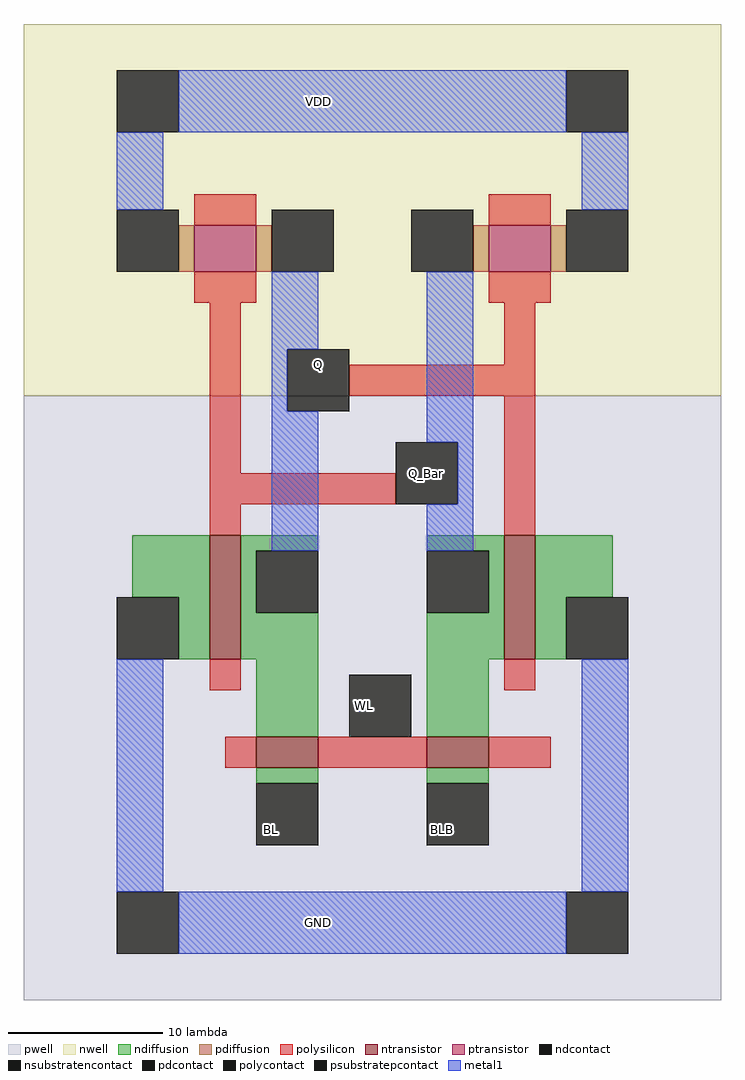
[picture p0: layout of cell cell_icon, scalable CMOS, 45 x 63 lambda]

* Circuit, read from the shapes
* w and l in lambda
.subckt cell_icon BL BLB GND Q Q_Bar VDD WL
M1 Q Q_Bar GND GND nfet w=8 l=2
M2 Q WL BL GND nfet w=4 l=2
M3 Q_Bar WL BLB GND nfet w=4 l=2
M4 GND Q Q_Bar GND nfet w=8 l=2
M5 Q Q_Bar VDD VDD pfet w=3 l=4
M6 VDD Q Q_Bar VDD pfet w=3 l=4
.ends

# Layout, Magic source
magic
tech scmos
<< nwell >>
rect 0 -12 45 12
<< pwell >>
rect 0 -51 45 -12
<< ntransistor >>
rect 12 -29 14 -21
rect 31 -29 33 -21
rect 15 -36 19 -34
rect 26 -36 30 -34
<< ptransistor >>
rect 11 -4 15 -1
rect 30 -4 34 -1
<< ndiffusion >>
rect 7 -25 12 -21
rect 10 -29 12 -25
rect 14 -22 19 -21
rect 14 -26 15 -22
rect 14 -29 19 -26
rect 15 -34 19 -29
rect 26 -22 31 -21
rect 30 -26 31 -22
rect 26 -29 31 -26
rect 33 -25 38 -21
rect 33 -29 35 -25
rect 26 -34 30 -29
rect 15 -37 19 -36
rect 26 -37 30 -36
<< pdiffusion >>
rect 10 -4 11 -1
rect 15 -4 16 -1
rect 29 -4 30 -1
rect 34 -4 35 -1
<< ndcontact >>
rect 6 -29 10 -25
rect 15 -26 19 -22
rect 26 -26 30 -22
rect 35 -29 39 -25
rect 15 -41 19 -37
rect 26 -41 30 -37
<< pdcontact >>
rect 6 -4 10 0
rect 16 -4 20 0
rect 25 -4 29 0
rect 35 -4 39 0
<< psubstratepcontact >>
rect 6 -48 10 -44
rect 35 -48 39 -44
<< nsubstratencontact >>
rect 6 5 10 9
rect 35 5 39 9
<< polysilicon >>
rect 11 -1 15 1
rect 30 -1 34 1
rect 11 -6 15 -4
rect 30 -6 34 -4
rect 12 -17 14 -6
rect 31 -10 33 -6
rect 21 -12 33 -10
rect 12 -19 24 -17
rect 12 -21 14 -19
rect 31 -21 33 -12
rect 12 -31 14 -29
rect 31 -31 33 -29
rect 13 -36 15 -34
rect 19 -36 26 -34
rect 30 -36 34 -34
<< polycontact >>
rect 17 -13 21 -9
rect 24 -19 28 -15
rect 21 -34 25 -30
<< metal1 >>
rect 10 5 35 9
rect 6 0 9 5
rect 36 0 39 5
rect 16 -9 19 -4
rect 16 -13 17 -9
rect 16 -22 19 -13
rect 26 -15 29 -4
rect 28 -19 29 -15
rect 26 -22 29 -19
rect 6 -44 9 -29
rect 36 -44 39 -29
rect 10 -48 35 -44
<< labels >>
rlabel metal1 19 7 19 7 5 VDD
rlabel metal1 19 -46 19 -46 1 GND
rlabel polycontact 19 -10 19 -10 1 Q
rlabel polycontact 26 -17 26 -17 1 Q_Bar
rlabel polycontact 22 -32 22 -32 1 WL
rlabel ndcontact 16 -40 16 -40 1 BL
rlabel ndcontact 27 -40 27 -40 1 BLB
<< end >>
